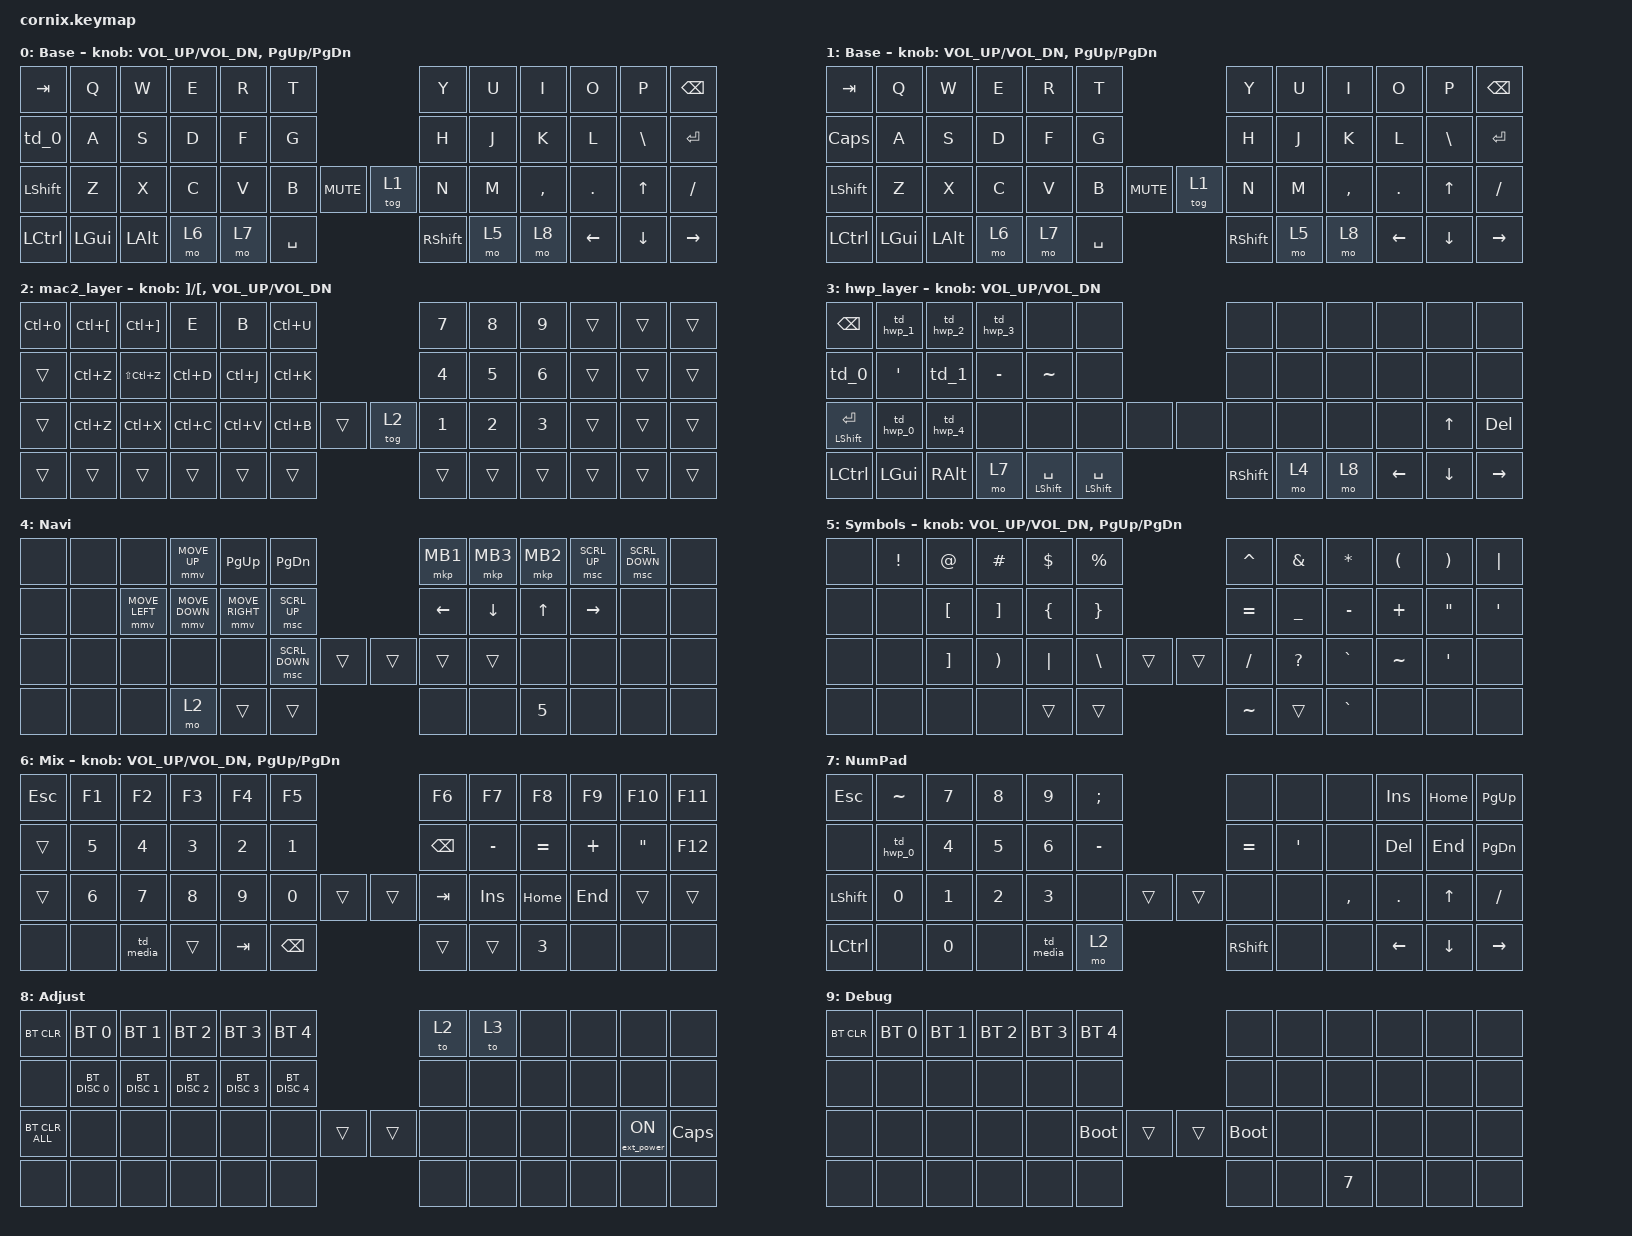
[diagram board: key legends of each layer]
/*
 * Copyright (c) 2020 The ZMK Contributors
 *
 * SPDX-License-Identifier: MIT
 */

#include "zmk-helpers/helper.h"
#include "includes/cornix54.h"

// tap windows for ctl alt and gui

#define HM_TAPPING_TERM 250
#define HM_TAPPING_REPEAT 210

// quick tapping for shift

#define HM_TAPPING_TERM_FAST 200
#define HM_PRIOR_IDLE 70
#define BASE 0
#define WIN 1
#define LOWER 2
#define RAISE 3
#define ADJUST 4
#define NAVI   5
#define NUM    6
#define DEBUG  7

// https://github.com/urob/zmk-config/tree/main#timeless-homerow-mods

#define KEYS_L LT0 LT1 LT2 LT3 LT4 LT5 LM0 LM1 LM2 LM3 LM4 LM5 LB0 LB1 LB2 LB3 LB4 LB5  // left hand
#define KEYS_R RT0 RT1 RT2 RT3 RT4 RT5 RM0 RM1 RM2 RM3 RM4 RM5 RB0 RB1 RB2 RB3 RB4 RB5  // right hand
#define THUMBS LH1 LH0 RH0 RH1
#define KEYS_T LH1 LH0 RH0 RH1
#define ZMK_POINTING_DEFAULT_SCRL_VAL 15

#include <behaviors.dtsi>
#include <dt-bindings/zmk/bt.h>
#include <dt-bindings/zmk/ext_power.h>
#include <dt-bindings/zmk/keys.h>
#include <dt-bindings/zmk/pointing.h>

/ {
    // Activate ADJUST layer by pressing raise and lower

    behaviors {
        hm_l: homerow_mods_left {
            compatible = "zmk,behavior-hold-tap";
            #binding-cells = <2>;
            bindings = <&kp>, <&kp>;

            flavor = "balanced";
            tapping-term-ms = <HM_TAPPING_TERM>;
            quick-tap-ms = <200>;                // repeat on tap-into-hold
            require-prior-idle-ms = <HM_PRIOR_IDLE>;
            hold-trigger-key-positions = <KEYS_R KEYS_T>;
            hold-trigger-on-release;
        };

        hm_r: homerow_mods_right {
            compatible = "zmk,behavior-hold-tap";
            #binding-cells = <2>;
            bindings = <&kp>, <&kp>;

            flavor = "balanced";
            tapping-term-ms = <HM_TAPPING_TERM>;
            quick-tap-ms = <200>;
            require-prior-idle-ms = <HM_PRIOR_IDLE>;
            hold-trigger-key-positions = <KEYS_L KEYS_T>;
            hold-trigger-on-release;
        };

        // Positional Homerow mods for shift
        // Use faster tapping term and disable some features that may
        // cause false negatives.

        hm_shift_l: hm_shift_l {
            compatible = "zmk,behavior-hold-tap";
            #binding-cells = <2>;
            bindings = <&kp>, <&kp>;

            //flavor = "balanced";

            flavor = "balanced";
            tapping-term-ms = <HM_TAPPING_TERM_FAST>;
            quick-tap-ms = <200>;
            require-prior-idle-ms = <HM_PRIOR_IDLE>;
            hold-trigger-key-positions = <KEYS_R KEYS_T>;
            hold-trigger-on-release;
        };

        hm_shift_r: hm_shift_r {
            compatible = "zmk,behavior-hold-tap";
            #binding-cells = <2>;
            bindings = <&kp>, <&kp>;

            flavor = "balanced";
            tapping-term-ms = <HM_TAPPING_TERM_FAST>;
            quick-tap-ms = <200>;
            require-prior-idle-ms = <HM_PRIOR_IDLE>;
            hold-trigger-key-positions = <KEYS_L KEYS_T>;

            // for quick tapping; shift+~

            hold-trigger-on-release;
        };

        /*
         * Non-Positional Homerow Mods
         * Used for &mm_grescm_gui behavior on left hand.
         *
         * Usage: &hm LSHFT T
         * Tap: T
         * Tap-Tap-Hold: Repeat T
         * Hold: LSHIFT
         */

        hm: homerow_mods {
            compatible = "zmk,behavior-hold-tap";
            #binding-cells = <2>;
            bindings = <&kp>, <&kp>;

            flavor = "balanced";
            tapping-term-ms = <HM_TAPPING_TERM>;
            quick-tap-ms = <200>;
        };

        lt: layer_tap {
            compatible = "zmk,behavior-hold-tap";
            #binding-cells = <2>;
            bindings = <&mo>, <&kp>;

            flavor = "hold-preferred";
            tapping-term-ms = <HM_TAPPING_TERM>;
            quick-tap-ms = <200>;
        };

        td_0: td_0 {
            compatible = "zmk,behavior-tap-dance";
            label = "TD_0";
            #binding-cells = <0>;
            bindings = <&ht CAPS RIGHT_ALT>, <&tog 3>;
        };

        ht: hold_tap {
            compatible = "zmk,behavior-hold-tap";
            label = "hold_tap";
            bindings = <&kp>, <&kp>;

            #binding-cells = <2>;
            tapping-term-ms = <200>;
        };

        td_hwp_0: td_hwp_0 {
            compatible = "zmk,behavior-tap-dance";
            label = "TD_HWP_0";
            #binding-cells = <0>;
            bindings = <&ht COMMA PERIOD>, <&kp SEMICOLON>;

            tapping-term-ms = <180>;
        };

        td_hwp_1: td_hwp_1 {
            compatible = "zmk,behavior-tap-dance";
            label = "TD_HWP_1";
            #binding-cells = <0>;
            bindings = <&hwp_mc1_01 0 0>, <&hwp_mc1_02 0 0>;
        };

        td_hwp_2: td_hwp_2 {
            compatible = "zmk,behavior-tap-dance";
            label = "TD_HWP_2";
            #binding-cells = <0>;
            bindings = <&hwp_mc2 0 0>, <&MC_8>;
        };

        td_hwp_3: td_hwp_3 {
            compatible = "zmk,behavior-tap-dance";
            label = "TD_HWP_3";
            #binding-cells = <0>;
            bindings = <&hwp_mc3 0 0>, <&MC_9>;
        };

        hwp_mc1_01: hwp_mc1_01 {
            compatible = "zmk,behavior-hold-tap";
            label = "HWP_MC1_01";
            bindings = <&MC_4>, <&MC_1>;

            #binding-cells = <2>;
            tapping-term-ms = <200>;
        };

        hwp_mc1_02: hwp_mc1_02 {
            compatible = "zmk,behavior-hold-tap";
            label = "HWP_MC1_02";
            bindings = <&MC_0>, <&MC_7>;

            #binding-cells = <2>;
            tapping-term-ms = <200>;
        };

        hwp_mc2: hwp_mc2 {
            compatible = "zmk,behavior-hold-tap";
            label = "HWP_MC2";
            bindings = <&MC_2>, <&MC_5>;

            #binding-cells = <2>;
            tapping-term-ms = <200>;
        };

        hwp_mc3: hwp_mc3 {
            compatible = "zmk,behavior-hold-tap";
            label = "HWP_MC3";
            bindings = <&MC_6>, <&MC_3>;

            #binding-cells = <2>;
            tapping-term-ms = <200>;
        };

        td_1: td_1 {
            compatible = "zmk,behavior-tap-dance";
            label = "TD_1";
            #binding-cells = <0>;
            bindings = <&ht SLASH QUESTION>, <&kp EXCLAMATION>;
        };

        hwp_uni_1: hwp_uni_1 {
            compatible = "zmk,behavior-hold-tap";
            label = "HWP_UNI_1";
            bindings = <&MC_uni_h_bullet>, <&MC_uni_h_ellipsis>;

            #binding-cells = <2>;
            tapping-term-ms = <200>;
        };

        td_hwp_4: td_hwp_4 {
            compatible = "zmk,behavior-tap-dance";
            label = "TD_HWP_4";
            #binding-cells = <0>;
            bindings = <&hwp_uni_1 0 0>, <&MC_uni_mdot>;
        };

        td_media: td_media {
            compatible = "zmk,behavior-tap-dance";
            label = "TD_MEDIA";
            #binding-cells = <0>;
            bindings = <&ht C_PP C_NEXT>, <&kp C_PREV>;
        };
    };

    conditional_layers {
        compatible = "zmk,conditional-layers";

        adjust_layer {
            if-layers = <7 6>;
            then-layer = <9>;
        };
    };

    combos {
        compatible = "zmk,combos";

        cb_L_par {
            bindings = <&kp LEFT_PARENTHESIS>;
            key-positions = <2 1>;
            layers = <0>;
        };

        cb_R_par {
            bindings = <&kp RIGHT_PARENTHESIS>;
            key-positions = <3 2>;
            layers = <0>;
        };

        cb_L_bra {
            bindings = <&kp LEFT_BRACKET>;
            key-positions = <13 14>;
        };

        cb_R_bra {
            bindings = <&kp RIGHT_BRACKET>;
            key-positions = <14 15>;
        };

        cb_hwp_del {
            bindings = <&kp DEL>;
            key-positions = <1 0>;
            layers = <3>;
        };

        cb_hwp_L_par {
            bindings = <&kp LEFT_PARENTHESIS>;
            key-positions = <1 2>;
            layers = <3>;
        };

        cb_hwp_R_par {
            bindings = <&kp RIGHT_PARENTHESIS>;
            key-positions = <2 3>;
            layers = <3>;
        };
    };

    macros {
        MC_0: MC_0 {
            compatible = "zmk,behavior-macro";
            #binding-cells = <0>;
            bindings =
                <&macro_press>,
                <&kp LEFT_ALT>,
                <&macro_tap>,
                <&kp N0>,
                <&macro_release>,
                <&kp LEFT_ALT>;

            label = "MC_0";
            wait-ms = <10>;
            tap-ms = <10>;
        };

        MC_1: MC_1 {
            compatible = "zmk,behavior-macro";
            #binding-cells = <0>;
            bindings =
                <&macro_press>,
                <&kp LEFT_ALT>,
                <&macro_tap>,
                <&kp N1>,
                <&macro_release>,
                <&kp LEFT_ALT>;

            label = "MC_1";
            wait-ms = <10>;
            tap-ms = <10>;
        };

        MC_2: MC_2 {
            compatible = "zmk,behavior-macro";
            #binding-cells = <0>;
            bindings =
                <&macro_press>,
                <&kp LEFT_ALT>,
                <&macro_tap>,
                <&kp N2>,
                <&macro_release>,
                <&kp LEFT_ALT>;

            label = "MC_2";
            wait-ms = <10>;
            tap-ms = <10>;
        };

        MC_3: MC_3 {
            compatible = "zmk,behavior-macro";
            #binding-cells = <0>;
            bindings =
                <&macro_press>,
                <&kp LEFT_ALT>,
                <&macro_tap>,
                <&kp N3>,
                <&macro_release>,
                <&kp LEFT_ALT>;

            label = "MC_3";
            wait-ms = <10>;
            tap-ms = <10>;
        };

        MC_4: MC_4 {
            compatible = "zmk,behavior-macro";
            #binding-cells = <0>;
            bindings =
                <&macro_press>,
                <&kp LEFT_ALT>,
                <&macro_tap>,
                <&kp N4>,
                <&macro_release>,
                <&kp LEFT_ALT>;

            label = "MC_4";
            wait-ms = <10>;
            tap-ms = <10>;
        };

        MC_5: MC_5 {
            compatible = "zmk,behavior-macro";
            #binding-cells = <0>;
            bindings =
                <&macro_press>,
                <&kp LEFT_ALT>,
                <&macro_tap>,
                <&kp N5>,
                <&macro_release>,
                <&kp LEFT_ALT>;

            label = "MC_5";
            wait-ms = <10>;
            tap-ms = <10>;
        };

        MC_6: MC_6 {
            compatible = "zmk,behavior-macro";
            #binding-cells = <0>;
            bindings =
                <&macro_press>,
                <&kp LEFT_ALT>,
                <&macro_tap>,
                <&kp N6>,
                <&macro_release>,
                <&kp LEFT_ALT>;

            label = "MC_6";
            wait-ms = <10>;
            tap-ms = <10>;
        };

        MC_7: MC_7 {
            compatible = "zmk,behavior-macro";
            #binding-cells = <0>;
            bindings =
                <&macro_press>,
                <&kp LEFT_ALT>,
                <&macro_tap>,
                <&kp N7>,
                <&macro_release>,
                <&kp LEFT_ALT>;

            label = "MC_7";
            wait-ms = <10>;
            tap-ms = <10>;
        };

        MC_8: MC_8 {
            compatible = "zmk,behavior-macro";
            #binding-cells = <0>;
            bindings =
                <&macro_press>,
                <&kp LEFT_ALT>,
                <&macro_tap>,
                <&kp N8>,
                <&macro_release>,
                <&kp LEFT_ALT>;

            label = "MC_8";
            wait-ms = <10>;
            tap-ms = <10>;
        };

        MC_9: MC_9 {
            compatible = "zmk,behavior-macro";
            #binding-cells = <0>;
            bindings =
                <&macro_press>,
                <&kp LEFT_ALT>,
                <&macro_tap>,
                <&kp N9>,
                <&macro_release>,
                <&kp LEFT_ALT>;

            label = "MC_9";
            wait-ms = <10>;
            tap-ms = <10>;
        };

        MC_uni_h_ellipsis: MC_uni_h_ellipsis {
            compatible = "zmk,behavior-macro";
            #binding-cells = <0>;
            bindings =
                <&macro_press>,
                <&kp LEFT_ALT>,
                <&macro_tap>,
                <&kp KP_NUMBER_0 &kp KP_NUMBER_1 &kp KP_NUMBER_3 &kp KP_NUMBER_3>,
                <&macro_release>,
                <&kp LEFT_ALT>;

            label = "MC_UNI_H_ELLIPSIS";
            wait-ms = <10>;
            tap-ms = <10>;
        };

        MC_uni_h_bullet: MC_uni_h_bullet {
            compatible = "zmk,behavior-macro";
            #binding-cells = <0>;
            bindings =
                <&macro_press>,
                <&kp LEFT_ALT>,
                <&macro_tap>,
                <&kp KP_NUMBER_0 &kp KP_NUMBER_1 &kp KP_NUMBER_4 &kp KP_NUMBER_9>,
                <&macro_release>,
                <&kp LEFT_ALT>;

            label = "MC_UNI_H_BULLET";
            wait-ms = <10>;
            tap-ms = <10>;
        };

        MC_uni_mdot: MC_uni_mdot {
            compatible = "zmk,behavior-macro";
            #binding-cells = <0>;
            bindings =
                <&macro_press>,
                <&kp LEFT_ALT>,
                <&macro_tap>,
                <&kp KP_NUMBER_1 &kp KP_NUMBER_8 &kp KP_NUMBER_3>,
                <&macro_release>,
                <&kp LEFT_ALT>;

            label = "MC_UNI_MDOT";
            wait-ms = <10>;
            tap-ms = <10>;
        };
    };

    keymap {
        compatible = "zmk,keymap";

        default_layer {
            display-name = "Base";

            // ------------------------------------------------------------------------------------------------------------
            // |   `   |  1  |  2  |  3   |  4   |  5   |                   |  6   |  7    |  8    |  9   |   0   |       |
            // |  ESC  |  Q  |  W  |  E   |  R   |  T   |                   |  Y   |  U    |  I    |  O   |   P   | BKSPC |
            // |  TAB  |  A  |  S  |  D   |  F   |  G   |                   |  H   |  J    |  K    |  L   |   ;   |   '   |
            // | SHIFT |  Z  |  X  |  C   |  V   |  B   |  MUTE  |  |       |  N   |  M    |  ,    |  .   |   /   | SHIFT |
            //               | GUI | ALT  | CTRL | LOWER|  ENTER |  | SPACE | RAISE| CTRL  | ALT   | GUI  |

            bindings = <
&kp TAB    &kp Q         &kp W         &kp E  &kp R  &kp T                          &kp Y      &kp U  &kp I      &kp O           &kp P           &kp BACKSPACE
&td_0      &kp A         &kp S         &kp D  &kp F  &kp G                          &kp H      &kp J  &kp K      &kp L           &kp BACKSLASH   &kp ENTER
&kp LSHFT  &kp Z         &kp X         &kp C  &kp V  &kp B      &kp K_MUTE  &tog 1  &kp N      &kp M  &kp COMMA  &kp DOT         &kp UP_ARROW    &kp SLASH
&kp LCTRL  &kp LEFT_GUI  &kp LEFT_ALT  &mo 6  &mo 7  &kp SPACE                      &kp RSHFT  &mo 5  &mo 8      &kp LEFT_ARROW  &kp DOWN_ARROW  &kp RIGHT_ARROW
            >;

            sensor-bindings = <&inc_dec_kp C_VOL_UP C_VOL_DN &inc_dec_kp PG_UP PG_DN>;
        };

        mac1_layer {
            display-name = "Base";
            bindings = <
&kp TAB    &kp Q         &kp W         &kp E  &kp R  &kp T                          &kp Y      &kp U  &kp I      &kp O           &kp P           &kp BACKSPACE
&kp CAPS   &kp A         &kp S         &kp D  &kp F  &kp G                          &kp H      &kp J  &kp K      &kp L           &kp BACKSLASH   &kp ENTER
&kp LSHFT  &kp Z         &kp X         &kp C  &kp V  &kp B      &kp K_MUTE  &tog 1  &kp N      &kp M  &kp COMMA  &kp DOT         &kp UP_ARROW    &kp SLASH
&kp LCTRL  &kp LEFT_GUI  &kp LEFT_ALT  &mo 6  &mo 7  &kp SPACE                      &kp RSHFT  &mo 5  &mo 8      &kp LEFT_ARROW  &kp DOWN_ARROW  &kp RIGHT_ARROW
            >;

            sensor-bindings =
                <&inc_dec_kp C_VOL_UP C_VOL_DN>,
                <&inc_dec_kp PG_UP PG_DN>;
        };

        mac2_layer {
            bindings = <
&kp LC(N0)  &kp LC(LEFT_BRACKET)  &kp LC(RIGHT_BRACKET)  &kp E      &kp B      &kp LC(U)                  &kp N7  &kp N8  &kp N9  &trans  &trans  &trans
&trans      &kp LC(Z)             &kp LS(LC(Z))          &kp LC(D)  &kp LC(J)  &kp LC(K)                  &kp N4  &kp N5  &kp N6  &trans  &trans  &trans
&trans      &kp LC(Z)             &kp LC(X)              &kp LC(C)  &kp LC(V)  &kp LC(B)  &trans  &tog 2  &kp N1  &kp N2  &kp N3  &trans  &trans  &trans
&trans      &trans                &trans                 &trans     &trans     &trans                     &trans  &trans  &trans  &trans  &trans  &trans
            >;

            sensor-bindings =
                <&inc_dec_kp RIGHT_BRACKET LEFT_BRACKET>,
                <&inc_dec_kp C_VOL_UP C_VOL_DN>;
        };

        hwp_layer {
            bindings = <
&kp BACKSPACE         &td_hwp_1     &td_hwp_2      &td_hwp_3  &none                 &none                               &none            &none  &none  &none           &none           &none
&td_0                 &kp SQT       &td_1          &kp MINUS  &kp TILDE             &none                               &none            &none  &none  &none           &none           &none
&mt LEFT_SHIFT ENTER  &td_hwp_0     &td_hwp_4      &none      &none                 &none                 &none  &none  &none            &none  &none  &none           &kp UP_ARROW    &kp DEL
&kp LCTRL             &kp LEFT_GUI  &kp RIGHT_ALT  &mo 7      &mt LEFT_SHIFT SPACE  &mt LEFT_SHIFT SPACE                &kp RIGHT_SHIFT  &mo 4  &mo 8  &kp LEFT_ARROW  &kp DOWN_ARROW  &kp RIGHT_ARROW
            >;

            sensor-bindings = <&inc_dec_kp C_VOL_UP C_VOL_DN>;
        };

        Navi_layer {
            display-name = "Navi";
            bindings = <
&none  &none  &none           &mmv MOVE_UP    &kp PAGE_UP      &kp PAGE_DOWN                   &mkp MB1  &mkp MB3  &mkp MB2  &msc SCRL_UP  &msc SCRL_DOWN  &none
&none  &none  &mmv MOVE_LEFT  &mmv MOVE_DOWN  &mmv MOVE_RIGHT  &msc SCRL_UP                    &kp LEFT  &kp DOWN  &kp UP    &kp RIGHT     &none           &none
&none  &none  &none           &none           &none            &msc SCRL_DOWN  &trans  &trans  &trans    &trans    &none     &none         &none           &none
&none  &none  &none           &mo 2           &trans           &trans                          &none     &none     &kp N5    &none         &none           &none
            >;
        };

        Symbol_layer {
            display-name = "Symbols";

            // TODO: Some binds are waiting for shifted keycode support.
            // -------------------------------
            // |       |  F1 |  F2 |  F3  |  F4  |  F5  |                   |  F6  |  F7   |  F8   |  F9  |  F10  |  F11  |
            // |   `   |  1  |  2  |  3   |  4   |  5   |                   |  6   |  7    |  8    |  9   |   0   |  F12  |
            // |       |  !  |  @  |  #   |  $   |  %   |                   |  ^   |  &    |  *    |  (   |   )   |   |   |
            // |       |  =  |  -  |  +   |  {   |  }   |        |  |       |  [   |  ]    |  ;    |  :   |   \   |       |
            //               |     |      |      |      |        |  |       |      |       |       |      |

            bindings = <
&none  &kp EXCL  &kp AT    &kp HASH  &kp DLLR  &kp PRCNT                  &kp CARET  &kp AMPS      &kp ASTRK  &kp LPAR   &kp RPAR  &kp PIPE
&none  &none     &kp LBKT  &kp RBKT  &kp LBRC  &kp RBRC                   &kp EQUAL  &kp UNDER     &kp MINUS  &kp PLUS   &kp DQT   &kp SQT
&none  &none     &kp RBKT  &kp RPAR  &kp PIPE  &kp BSLH   &trans  &trans  &kp FSLH   &kp QUESTION  &kp GRAVE  &kp TILDE  &kp SQT   &none
&none  &none     &none     &none     &trans    &trans                     &kp TILDE  &trans        &kp GRAVE  &none      &none     &none
            >;

            sensor-bindings = <&inc_dec_kp C_VOL_UP C_VOL_DN &inc_dec_kp PG_UP PG_DN>;
        };

        Mix_layer {
            display-name = "Mix";

            // ------------------------------------------------------------------------------------------------------------
            // | BTCLR | BT1  | BT2  |  BT3  |  BT4  |  BT5 |                |      |      |       |      |       |       |
            // |       | INS  | PSCR | GUI   |       |      |                | PGUP |      |   ^   |      |       |       |
            // |       | ALT  | CTRL | SHIFT |       | CAPS |                | PGDN |   <- |   v   |  ->  |  DEL  | BKSPC |
            // |       | UNDO | CUT  | COPY  | PASTE |      |      |  |      |      |      |       |      |       |       |
            //                |      |       |       |      |      |  |      |      |      |       |      |

            bindings = <
&kp ESCAPE  &kp F1  &kp F2     &kp F3  &kp F4   &kp F5                         &kp F6    &kp F7     &kp F8     &kp F9    &kp F10  &kp F11
&trans      &kp N5  &kp N4     &kp N3  &kp N2   &kp N1                         &kp BSPC  &kp MINUS  &kp EQUAL  &kp PLUS  &kp DQT  &kp F12
&trans      &kp N6  &kp N7     &kp N8  &kp N9   &kp N0         &trans  &trans  &kp TAB   &kp INS    &kp HOME   &kp END   &trans   &trans
&none       &none   &td_media  &trans  &kp TAB  &kp BACKSPACE                  &trans    &trans     &kp N3     &none     &none    &none
            >;

            sensor-bindings = <&inc_dec_kp C_VOL_UP C_VOL_DN &inc_dec_kp PG_UP PG_DN>;
        };

        KeyPad_layer {
            display-name = "NumPad";
            bindings = <
&kp ESCAPE  &kp TILDE  &kp N7  &kp N8  &kp N9     &kp SEMICOLON                  &none      &none    &none      &kp INSERT  &kp HOME  &kp PAGE_UP
&none       &td_hwp_0  &kp N4  &kp N5  &kp N6     &kp MINUS                      &kp EQUAL  &kp SQT  &none      &kp DELETE  &kp END   &kp PAGE_DOWN
&kp LSHFT   &kp N0     &kp N1  &kp N2  &kp N3     &none          &trans  &trans  &none      &none    &kp COMMA  &kp DOT     &kp UP    &kp FSLH
&kp LCTRL   &none      &kp N0  &none   &td_media  &mo 2                          &kp RSHFT  &none    &none      &kp LEFT    &kp DOWN  &kp RIGHT
            >;
        };

        Adjust_layer {
            display-name = "Adjust";

            // ----------------------------------------------------------------------------------------------------------------------------
            // | BTCLR  |  BT1    |  BT2    |   BT3   |   BT4   |   BT5   |                  |      |      |       |      |       |       |
            // | moDEBUG| RGB_HUD | RGB_HUI | RGB_SAD | RGB_SAI | RGB_EFF |                  |      |      |       |      |       |       |
            // | EXTPWR | RGB_BRD | RGB_BRI |         |         |         |                  |      |      |       |      |       |       |
            // |        |         |         |         |         |         | RGB_TOG | |      |      |      |       |      |       |       |
            //                    |         |         |         |         |         | |      |      |      |       |      |

            bindings = <
&bt BT_CLR      &bt BT_SEL 0   &bt BT_SEL 1   &bt BT_SEL 2   &bt BT_SEL 3   &bt BT_SEL 4                   &to 2  &to 3  &none  &none  &none             &none
&none           &bt BT_DISC 0  &bt BT_DISC 1  &bt BT_DISC 2  &bt BT_DISC 3  &bt BT_DISC 4                  &none  &none  &none  &none  &none             &none
&bt BT_CLR_ALL  &none          &none          &none          &none          &none          &trans  &trans  &none  &none  &none  &none  &ext_power EP_ON  &kp CAPSLOCK
&none           &none          &none          &none          &none          &none                          &none  &none  &none  &none  &none             &none
            >;
        };

        Debug_layer {
            display-name = "Debug";

            // ----------------------------------------------------------------------------------------------------------------------------
            // | BTCLR  |  BT1    |  BT2    |   BT3   |   BT4   |   BT5   |                  |      |      |       |      |       |       |
            // | EXTPWR | BTCLR | RGB_HUI | RGB_SAD | RGB_SAI | RGB_EFF |                  |      |      |       |      |       |       |
            // |        | RGB_BRD | RGB_BRI |         |         |         |                  |      |      |       |      |       |       |
            // |        |         |         |         |         |         | RGB_TOG | |      |      |      |       |      |       |       |
            //                    |         |         |         |         |         | |      |      |      |       |      |

            bindings = <
&bt BT_CLR  &bt BT_SEL 0  &bt BT_SEL 1  &bt BT_SEL 2  &bt BT_SEL 3  &bt BT_SEL 4                  &none        &none  &none   &none  &none  &none
&none       &none         &none         &none         &none         &none                         &none        &none  &none   &none  &none  &none
&none       &none         &none         &none         &none         &bootloader   &trans  &trans  &bootloader  &none  &none   &none  &none  &none
&none       &none         &none         &none         &none         &none                         &none        &none  &kp N7  &none  &none  &none
            >;
        };
    };
};
